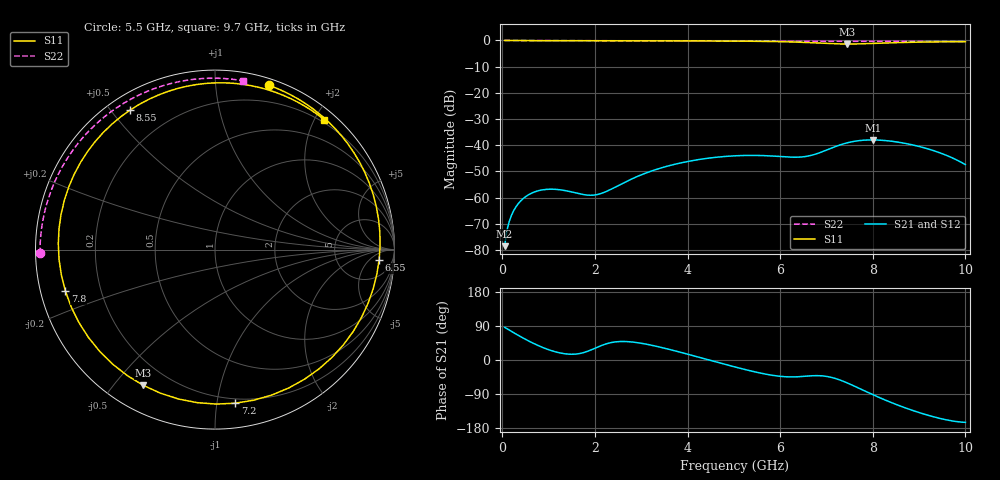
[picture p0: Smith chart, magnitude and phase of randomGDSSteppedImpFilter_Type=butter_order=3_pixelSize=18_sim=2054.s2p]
! freq	dB(S11)	phase(S11)	dB(S12)	phase(S12)
!  dB(S21)	phase(S21)	dB(S22)	phase(S22)
!S-par simulation data
#  GHz  S  DB  R 50
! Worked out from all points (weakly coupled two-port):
!   200 points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, 50 MHz to 10 GHz, reference 50 ohm
!   highest |S21| = -37.97 dB at 8 GHz (marker M1); lowest = -78.5 dB at 50 MHz (marker M2)
!   lowest |S11| = -1.4 dB at 7.45 GHz (marker M3), VSWR 12.82, Z = 5.31 - j29.9 ohm
!   |S11| at or under -10 dB: nowhere
!   |S22| runs from -0.4 to 0.0 dB; largest |S21 - S12| = 0
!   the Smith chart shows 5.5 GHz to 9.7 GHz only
!   S11 on the Smith chart (normalised r, x): 5.5 GHz: 0.05, +1.38; 6.55 GHz: 15, -11; 7.2 GHz: 0.17, -1.13; 7.8 GHz: 0.07, -0.14; 8.55 GHz: 0.06, +0.56; 9.7 GHz: 0.16, +2.13
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0.05  -0.00 -5.3  -78.53 86.3  -78.53 86.3  -0.00 -2.2
0.2  -0.03 -20.9  -66.67 75.3  -66.67 75.3  -0.01 -8.7
0.55  -0.07 -55.0  -59.08 51.4  -59.08 51.4  -0.03 -23.8
1.05  -0.10 -95.6  -56.77 25.1  -56.77 25.1  -0.06 -44.6
1.75  -0.11 -137.4  -58.82 19.3  -58.82 19.3  -0.09 -71.8
2.5  -0.12 -170.5  -55.43 48.5  -55.43 48.5  -0.11 -97.9
3.4  -0.14 156.3  -48.82 34.1  -48.82 34.1  -0.14 -125.3
4.2  -0.18 127.7  -45.58 8.8  -45.58 8.8  -0.16 -147.0
5.05  -0.25 93.6  -44.01 -19.2  -44.01 -19.2  -0.20 -168.1
5.5  -0.32 71.8  -43.89 -32.6  -43.89 -32.6  -0.22 -178.8
6.05  -0.48 38.3  -44.37 -43.6  -44.37 -43.6  -0.25 168.4
6.55  -0.76 -3.6  -44.29 -42.8  -44.29 -42.8  -0.27 156.8
6.7  -0.88 -19.2  -43.73 -41.5  -43.73 -41.5  -0.28 153.3
7.2  -1.28 -82.5  -40.46 -49.1  -40.46 -49.1  -0.30 141.7
7.45  -1.36 -117.8  -39.07 -60.5  -39.07 -60.5  -0.32 135.9
7.8  -1.26 -164.4  -38.08 -80.1  -38.08 -80.1  -0.33 127.6
8  -1.14 172.4  -37.97 -91.3  -37.97 -91.3  -0.34 122.9
8.35  -0.93 138.0  -38.36 -109.8  -38.36 -109.8  -0.36 114.4
8.55  -0.82 121.4  -38.83 -119.5  -38.83 -119.5  -0.37 109.6
9.05  -0.62 86.6  -40.69 -140.6  -40.69 -140.6  -0.39 97.1
9.7  -0.49 50.0  -44.69 -160.5  -44.69 -160.5  -0.41 80.6
10  -0.46 35.2  -47.40 -164.5  -47.40 -164.5  -0.42 72.8
